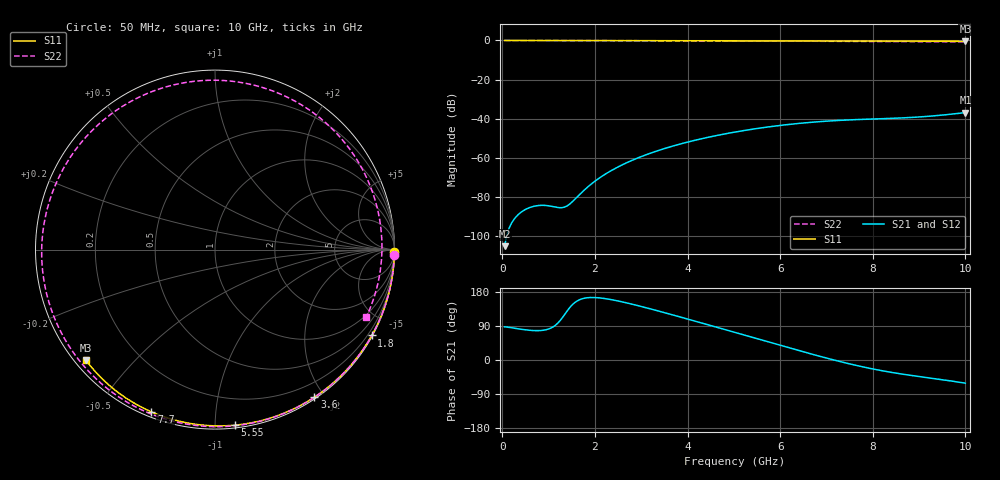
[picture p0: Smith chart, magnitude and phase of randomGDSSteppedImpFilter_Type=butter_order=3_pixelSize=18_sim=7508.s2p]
! freq	dB(S11)	phase(S11)	dB(S12)	phase(S12)
!  dB(S21)	phase(S21)	dB(S22)	phase(S22)
!S-par simulation data
#  GHz  S  DB  R 50
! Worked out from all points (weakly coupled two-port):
!   200 points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, 50 MHz to 10 GHz, reference 50 ohm
!   highest |S21| = -36.93 dB at 10 GHz (marker M1); lowest = -105.3 dB at 50 MHz (marker M2)
!   lowest |S11| = -0.5 dB at 10 GHz (marker M3), VSWR 36.77, Z = 1.54 - j18.4 ohm
!   |S11| at or under -10 dB: nowhere
!   |S22| runs from -0.7 to 0.0 dB; largest |S21 - S12| = 0
!   S11 on the Smith chart (normalised r, x): 50 MHz: open; 1.8 GHz: 0.03, -3.91; 3.6 GHz: 0.02, -1.88; 5.55 GHz: 0.02, -1.12; 7.7 GHz: 0.02, -0.68; 10 GHz: 0.03, -0.37
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0.05  -0.00 -0.8  -105.30 87.5  -105.30 87.5  -0.00 -1.6
0.8  -0.01 -12.9  -84.45 77.5  -84.45 77.5  -0.03 -25.7
1.6  -0.03 -25.6  -80.52 154.6  -80.52 154.6  -0.06 -51.1
1.75  -0.04 -27.9  -77.03 162.4  -77.03 162.4  -0.07 -55.8
1.8  -0.04 -28.7  -75.95 163.7  -75.95 163.7  -0.07 -57.3
2.1  -0.04 -33.4  -70.35 163.9  -70.35 163.9  -0.09 -66.7
2.45  -0.05 -38.7  -65.35 157.0  -65.35 157.0  -0.10 -77.6
3.4  -0.07 -53.1  -56.10 128.4  -56.10 128.4  -0.14 -107.3
3.6  -0.08 -56.0  -54.63 121.7  -54.63 121.7  -0.16 -113.7
4.3  -0.09 -66.1  -50.33 97.8  -50.33 97.8  -0.20 -136.3
5.05  -0.12 -76.7  -46.78 71.8  -46.78 71.8  -0.26 -161.9
5.55  -0.14 -83.5  -44.90 54.3  -44.90 54.3  -0.30 179.8
6.15  -0.16 -91.5  -43.09 33.5  -43.09 33.5  -0.36 156.0
6.7  -0.19 -98.7  -41.84 14.9  -41.84 14.9  -0.42 132.2
7.25  -0.22 -105.7  -40.95 -2.8  -40.95 -2.8  -0.48 106.5
7.7  -0.26 -111.4  -40.46 -15.8  -40.46 -15.8  -0.51 84.3
8  -0.28 -115.1  -40.21 -23.6  -40.21 -23.6  -0.53 69.2
8.35  -0.31 -119.4  -39.93 -31.6  -39.93 -31.6  -0.55 51.5
8.75  -0.34 -124.3  -39.52 -39.3  -39.52 -39.3  -0.58 31.7
9.15  -0.38 -129.2  -38.92 -46.2  -38.92 -46.2  -0.60 12.6
9.55  -0.42 -134.1  -38.09 -52.9  -38.09 -52.9  -0.64 -5.3
10  -0.47 -139.5  -36.93 -61.2  -36.93 -61.2  -0.70 -24.1
